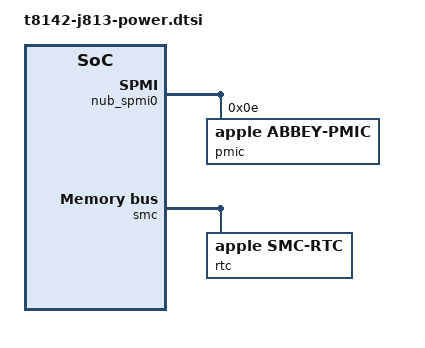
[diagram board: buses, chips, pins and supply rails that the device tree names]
// SPDX-License-Identifier: GPL-2.0+ OR MIT
/*
 * Apple MacBook Air (13-inch, M5) J813: SMC power off / restart, the PMU on
 * SPMI and the watchdog.
 */
#include <dt-bindings/spmi/spmi.h>

&{/soc} {
	/* ADT /arm-io/wdt (wdt,t8142): restart (and the SMC's fallback). */
	wdt: watchdog@3882b0000 {
		compatible = "apple,t8142-wdt", "apple,t8103-wdt";
		reg = <0x3 0x882b0000 0x0 0x4000>;
		clocks = <&clkref>;
		interrupt-parent = <&aic>;
		interrupts = <AIC_IRQ 361 IRQ_TYPE_LEVEL_HIGH>;
	};
};

&{/soc} {
	/*
	 * ADT /arm-io/nub-spmi0 (gen 4) and its primary PMU, pmu-main
	 * ("abbey", slave 0xe). The boot flags live in the legacy scratchpad
	 * (info-leg_scrpad = 0xf800), laid out as on T8103 and J873; the RTC
	 * offset is at info-rtc_scrpad = 0x2100 (J815 ADT; same as J704).
	 */
	nub_spmi0: spmi@388714000 {
		compatible = "apple,t8142-spmi";
		reg = <0x3 0x88714000 0x0 0x4000>;
		#address-cells = <2>;
		#size-cells = <0>;

		pmic@e {
			compatible = "apple,abbey-pmic", "apple,spmi-nvmem";
			reg = <0xe SPMI_USID>;

			nvmem-layout {
				compatible = "fixed-layout";
				#address-cells = <1>;
				#size-cells = <1>;

				/* ADT info-rtc_scrpad: 48-bit offset in 32768 Hz ticks. */
				rtc_offset: rtc-offset@2100 {
					reg = <0x2100 0x6>;
				};

				boot_stage: boot-stage@f801 {
					reg = <0xf801 0x1>;
				};

				boot_error_count: boot-error-count@f802,0 {
					reg = <0xf802 0x1>;
					bits = <0 4>;
				};

				panic_count: panic-count@f802,4 {
					reg = <0xf802 0x1>;
					bits = <4 4>;
				};

				/* Set before off1, or the machine powers back on. */
				shutdown_flag: shutdown-flag@f80f,3 {
					reg = <0xf80f 0x1>;
					bits = <3 1>;
				};
			};
		};
	};
};

&smc {
	/* Power off (MBSE = off1) and restart (MBSE = phra). */
	reboot {
		compatible = "apple,smc-reboot";
		nvmem-cells = <&shutdown_flag>, <&boot_stage>,
			      <&boot_error_count>, <&panic_count>;
		nvmem-cell-names = "shutdown_flag", "boot_stage",
				   "boot_error_count", "panic_count";
	};

	rtc {
		compatible = "apple,smc-rtc";
		nvmem-cells = <&rtc_offset>;
		nvmem-cell-names = "rtc_offset";
	};
};
